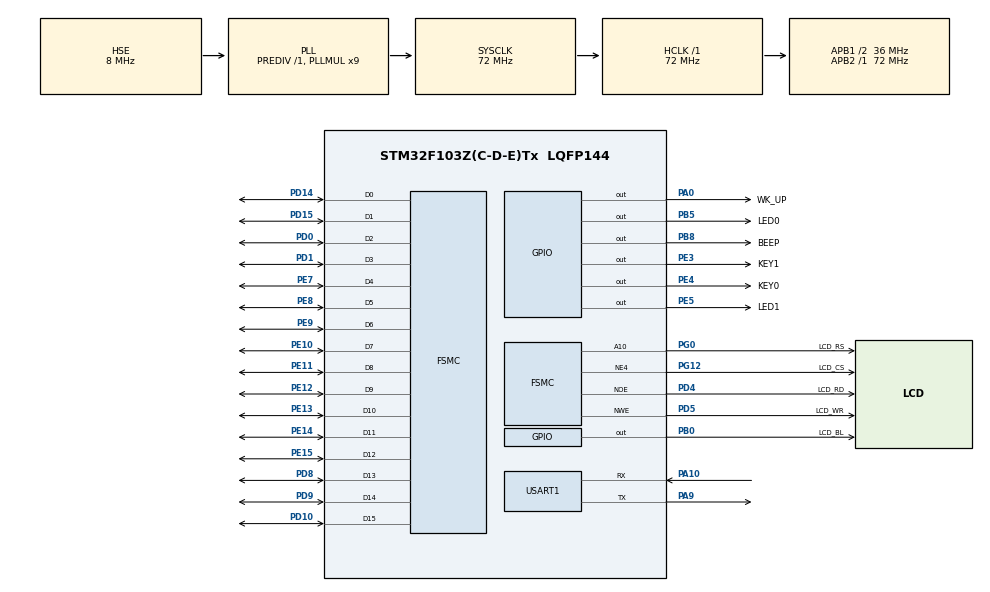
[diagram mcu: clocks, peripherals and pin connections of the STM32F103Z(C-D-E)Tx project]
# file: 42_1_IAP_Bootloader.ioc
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FSMC.AddressSetupTime1=0
FSMC.BusTurnAroundDuration1=15
FSMC.DataSetupTime1=15
FSMC.ExtendedAddressSetupTime1=0
FSMC.ExtendedDataSetupTime1=1
FSMC.ExtendedMode1=FSMC_EXTENDED_MODE_ENABLE
Mcu.Family=STM32F1
Mcu.Name=STM32F103Z(C-D-E)Tx
Mcu.Package=LQFP144
NVIC.PriorityGroup=NVIC_PRIORITYGROUP_2
NVIC.USART1_IRQn=true\:2\:2\:true\:false\:true\:true\:true\:true
OSC_IN.Mode=HSE-External-Oscillator
OSC_IN.Signal=RCC_OSC_IN
OSC_OUT.Mode=HSE-External-Oscillator
OSC_OUT.Signal=RCC_OSC_OUT
PA0-WKUP.GPIO_Label=WK_UP
PA0-WKUP.GPIO_PuPd=GPIO_PULLDOWN
PA0-WKUP.GPIO_Speed=GPIO_SPEED_FREQ_HIGH
PA0-WKUP.PinState=GPIO_PIN_RESET
PA0-WKUP.Signal=GPIO_Output
PA10.Mode=Asynchronous
PA10.Signal=USART1_RX
PA13.Mode=Serial_Wire
PA13.Signal=SYS_JTMS-SWDIO
PA14.Mode=Serial_Wire
PA14.Signal=SYS_JTCK-SWCLK
PA9.Mode=Asynchronous
PA9.Signal=USART1_TX
PB0.GPIO_Label=LCD_BL
PB0.GPIO_PuPd=GPIO_PULLUP
PB0.GPIO_Speed=GPIO_SPEED_FREQ_HIGH
PB0.PinState=GPIO_PIN_SET
PB0.Signal=GPIO_Output
PB5.GPIO_Label=LED0
PB5.GPIO_PuPd=GPIO_PULLUP
PB5.GPIO_Speed=GPIO_SPEED_FREQ_HIGH
PB5.PinState=GPIO_PIN_SET
PB5.Signal=GPIO_Output
PB8.GPIO_Label=BEEP
PB8.GPIO_ModeDefaultOutputPP=GPIO_MODE_OUTPUT_PP
PB8.GPIO_PuPd=GPIO_PULLDOWN
PB8.GPIO_Speed=GPIO_SPEED_FREQ_HIGH
PB8.PinState=GPIO_PIN_RESET
PB8.Signal=GPIO_Output
PC14-OSC32_IN.Mode=LSE-External-Oscillator
PC14-OSC32_IN.Signal=RCC_OSC32_IN
PC15-OSC32_OUT.Mode=LSE-External-Oscillator
PC15-OSC32_OUT.Signal=RCC_OSC32_OUT
PD0.Signal=FSMC_D2_DA2
PD1.Signal=FSMC_D3_DA3
PD10.Signal=FSMC_D15_DA15
PD14.Signal=FSMC_D0_DA0
PD15.Signal=FSMC_D1_DA1
PD4.GPIO_Label=LCD_RD
PD4.Signal=FSMC_NOE
PD5.GPIO_Label=LCD_WR
PD5.Signal=FSMC_NWE
PD8.Signal=FSMC_D13_DA13
PD9.Signal=FSMC_D14_DA14
PE10.Signal=FSMC_D7_DA7
PE11.Signal=FSMC_D8_DA8
PE12.Signal=FSMC_D9_DA9
PE13.Signal=FSMC_D10_DA10
PE14.Signal=FSMC_D11_DA11
PE15.Signal=FSMC_D12_DA12
PE3.GPIO_Label=KEY1
PE3.GPIO_PuPd=GPIO_PULLUP
PE3.GPIO_Speed=GPIO_SPEED_FREQ_HIGH
PE3.PinState=GPIO_PIN_SET
PE3.Signal=GPIO_Output
PE4.GPIO_Label=KEY0
PE4.GPIO_PuPd=GPIO_PULLUP
PE4.GPIO_Speed=GPIO_SPEED_FREQ_HIGH
PE4.PinState=GPIO_PIN_SET
PE4.Signal=GPIO_Output
PE5.GPIO_Label=LED1
PE5.GPIO_PuPd=GPIO_PULLUP
PE5.GPIO_Speed=GPIO_SPEED_FREQ_HIGH
PE5.PinState=GPIO_PIN_SET
PE5.Signal=GPIO_Output
PE7.Signal=FSMC_D4_DA4
PE8.Signal=FSMC_D5_DA5
PE9.Signal=FSMC_D6_DA6
PG0.GPIO_Label=LCD_RS
PG0.Signal=FSMC_A10
PG12.GPIO_Label=LCD_CS
PG12.Mode=NorPsramChipSelect4_1
PG12.Signal=FSMC_NE4
ProjectManager.HeapSize=0x200
ProjectManager.StackSize=0x400
ProjectManager.TargetToolchain=STM32CubeIDE
RCC.AHBFreq_Value=72000000
RCC.APB1CLKDivider=RCC_HCLK_DIV2
RCC.APB1Freq_Value=36000000
RCC.APB1TimFreq_Value=72000000
RCC.APB2Freq_Value=72000000
RCC.APB2TimFreq_Value=72000000
RCC.HCLKFreq_Value=72000000
RCC.PLLMUL=RCC_PLL_MUL9
RCC.PLLSourceVirtual=RCC_PLLSOURCE_HSE
RCC.SYSCLKFreq_VALUE=72000000
RCC.SYSCLKSource=RCC_SYSCLKSOURCE_PLLCLK
RCC.USBFreq_Value=72000000
SH.FSMC_A10.0=FSMC_A10,A10_1
SH.FSMC_D0_DA0.0=FSMC_D0,16b-d1
SH.FSMC_D10_DA10.0=FSMC_D10,16b-d1
SH.FSMC_D11_DA11.0=FSMC_D11,16b-d1
SH.FSMC_D12_DA12.0=FSMC_D12,16b-d1
SH.FSMC_D13_DA13.0=FSMC_D13,16b-d1
SH.FSMC_D14_DA14.0=FSMC_D14,16b-d1
SH.FSMC_D15_DA15.0=FSMC_D15,16b-d1
SH.FSMC_D1_DA1.0=FSMC_D1,16b-d1
SH.FSMC_D2_DA2.0=FSMC_D2,16b-d1
SH.FSMC_D3_DA3.0=FSMC_D3,16b-d1
SH.FSMC_D4_DA4.0=FSMC_D4,16b-d1
SH.FSMC_D5_DA5.0=FSMC_D5,16b-d1
SH.FSMC_D6_DA6.0=FSMC_D6,16b-d1
SH.FSMC_D7_DA7.0=FSMC_D7,16b-d1
SH.FSMC_D8_DA8.0=FSMC_D8,16b-d1
SH.FSMC_D9_DA9.0=FSMC_D9,16b-d1
SH.FSMC_NOE.0=FSMC_NOE,Lcd1
SH.FSMC_NWE.0=FSMC_NWE,Lcd1
USART1.VirtualMode=VM_ASYNC
board=custom

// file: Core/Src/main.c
/* USER CODE BEGIN Header */
/**
 ****************************************************************************************************
 * @file        main.c
 * @author      正点原子团队(ALIENTEK)
 * @version     V1.0
 * @date        2024-01-01
 * @brief       串口IAP 实验-IAP Bootloader V1.0
 * @license     Copyright (c) 2020-2032, 广州市星翼电子科技有限公司
 ****************************************************************************************************
 * @attention
 *
 * 实验平台:正点原子 STM32F103开发板
 * 在线视频:www.yuanzige.com
 * 技术论坛:www.openedv.com
 * 公司网址:www.alientek.com
 * 购买地址:openedv.taobao.com
 *
 ****************************************************************************************************
 */
/* USER CODE END Header */
#include "main.h"
#include "usart.h"
#include "gpio.h"
#include "fsmc.h"

/* USER CODE BEGIN Includes */
#include "../../BSP/LED/led.h"
#include "../../BSP/BEEP/beep.h"
#include "../../BSP/KEY/key.h"
#include "../../BSP/LCD/lcd.h"
#include "../../SYSTEM/delay/delay.h"
#include "../../SYSTEM/sys/sys.h"
#include "../../ATK_Middlewares/IAP/iap.h"
/* USER CODE END Includes */

void SystemClock_Config(void);

int main(void)
{
  /* USER CODE BEGIN 1 */
    uint8_t t;
    uint8_t key;
    uint32_t oldcount = 0;      /* 老的串口接收数据值 */
    uint32_t applenth = 0;      /* 接收到的app代码长度 */
    uint8_t clearflag = 0;
  /* USER CODE END 1 */

  /* MCU Configuration--------------------------------------------------------*/

  /* Reset of all peripherals, Initializes the Flash interface and the Systick. */
  HAL_Init();

  /* Configure the system clock */
  SystemClock_Config();

  /* USER CODE BEGIN SysInit */
  delay_init(72);						   /* 初始化延时函数 */
  /* USER CODE END SysInit */

  /* Initialize all configured peripherals */
  MX_GPIO_Init();
  MX_FSMC_Init();
  MX_USART1_UART_Init();
  /* USER CODE BEGIN 2 */
  lcd_init();                                         /* 初始化LCD */
  lcd_show_string(30,  50, 200, 16, 16, "STM32", RED);
  lcd_show_string(30,  70, 200, 16, 16, "IAP TEST", RED);
  lcd_show_string(30,  90, 200, 16, 16, "ATOM@ALIENTEK", RED);
  lcd_show_string(30, 110, 200, 16, 16, "KEY_UP: Copy APP2FLASH!", RED);
  lcd_show_string(30, 130, 200, 16, 16, "KEY1: Run FLASH APP", RED);
  lcd_show_string(30, 150, 200, 16, 16, "KEY0: Run SRAM APP", RED);
  /* USER CODE END 2 */

  /* Infinite loop */
  /* USER CODE BEGIN WHILE */
  while (1)
  {
	  if (g_usart_rx_cnt)
	  {
		  if (oldcount == g_usart_rx_cnt)   /* 新周期内,没有收到任何数据,认为本次数据接收完成 */
		  {
			  applenth = g_usart_rx_cnt;
			  oldcount = 0;
			  g_usart_rx_cnt = 0;
			  printf("用户程序接收完成!\r\n");
			  printf("代码长度:%luBytes\r\n", applenth);
		  }
		  else oldcount = g_usart_rx_cnt;
	  }

	  t++;
	  delay_ms(100);

	  if (t == 3)
	  {
		  LED0_TOGGLE();
		  t = 0;

		  if (clearflag)
		  {
			  clearflag--;

			  if (clearflag == 0)
			  {
				  lcd_fill(30, 190, 240, 210 + 16, WHITE);    /* 清除显示 */
			  }
		  }
	  }

	  key = key_scan(0);

	  if (key == WKUP_PRES)   /* WKUP按下,更新固件到FLASH */
	  {
		  if (applenth)
		  {
			  printf("开始更新固件...\r\n");
			  lcd_show_string(30, 190, 200, 16, 16, "Copying APP2FLASH...", BLUE);

			  if (((*(volatile uint32_t *)(0X20002000 + 4)) & 0xFF000000) == 0x08000000)  /* 判断是否为0X08XXXXXX */
			  {
				  iap_write_appbin(FLASH_APP1_ADDR, g_usart_rx_buf, applenth);            /* 更新FLASH代码 */
				  lcd_show_string(30, 190, 200, 16, 16, "Copy APP Successed!!", BLUE);
				  printf("固件更新完成!\r\n");
			  }
			  else
			  {
				  lcd_show_string(30, 190, 200, 16, 16, "Illegal FLASH APP!  ", BLUE);
				  printf("非FLASH应用程序!\r\n");
			  }
		  }
		  else
		  {
			  printf("没有可以更新的固件!\r\n");
			  lcd_show_string(30, 190, 200, 16, 16, "No APP!", BLUE);
		  }

		  clearflag = 7; /* 标志更新了显示,并且设置7*300ms后清除显示 */
	  }

	  if (key == KEY1_PRES)   /* KEY1按键按下, 运行FLASH APP代码 */
	  {
		  if (((*(volatile uint32_t *)(FLASH_APP1_ADDR + 4)) & 0xFF000000) == 0x08000000) /* 判断FLASH里面是否有APP,有的话执行 */
		  {
			  printf("开始执行FLASH用户代码!!\r\n\r\n");
			  delay_ms(10);
			  iap_load_app(FLASH_APP1_ADDR);/* 执行FLASH APP代码 */

		  }
		  else
		  {
			  printf("没有可以运行的固件!\r\n");
			  lcd_show_string(30, 190, 200, 16, 16, "No APP!", BLUE);
		  }

		  clearflag = 7; /* 标志更新了显示,并且设置7*300ms后清除显示 */
	  }

	  if (key == KEY0_PRES)   /* KEY0按下 */
	  {
		  printf("开始执行SRAM用户代码!!\r\n\r\n");
		  delay_ms(10);

		  if (((*(volatile uint32_t *)(0X20002000 + 4)) & 0xFF000000) == 0x20000000)   /* 判断是否为0X20XXXXXX */
		  {
			  iap_load_app(0X20002000);   /* SRAM地址 */
		  }
		  else
		  {
			  printf("非SRAM应用程序,无法执行!\r\n");
			  lcd_show_string(30, 190, 200, 16, 16, "Illegal SRAM APP!", BLUE);
		  }

		  clearflag = 7; /* 标志更新了显示,并且设置7*300ms后清除显示 */
	  }

    /* USER CODE END WHILE */

  }
}

void SystemClock_Config(void)
{
  RCC_OscInitTypeDef RCC_OscInitStruct = {0};
  RCC_ClkInitTypeDef RCC_ClkInitStruct = {0};

  /** Initializes the RCC Oscillators according to the specified parameters
  * in the RCC_OscInitTypeDef structure.
  */
  RCC_OscInitStruct.OscillatorType = RCC_OSCILLATORTYPE_HSE;
  RCC_OscInitStruct.HSEState = RCC_HSE_ON;
  RCC_OscInitStruct.HSEPredivValue = RCC_HSE_PREDIV_DIV1;
  RCC_OscInitStruct.HSIState = RCC_HSI_ON;
  RCC_OscInitStruct.PLL.PLLState = RCC_PLL_ON;
  RCC_OscInitStruct.PLL.PLLSource = RCC_PLLSOURCE_HSE;
  RCC_OscInitStruct.PLL.PLLMUL = RCC_PLL_MUL9;
  if (HAL_RCC_OscConfig(&RCC_OscInitStruct) != HAL_OK)
  {
    Error_Handler();
  }

  /** Initializes the CPU, AHB and APB buses clocks
  */
  RCC_ClkInitStruct.ClockType = RCC_CLOCKTYPE_HCLK|RCC_CLOCKTYPE_SYSCLK
                              |RCC_CLOCKTYPE_PCLK1|RCC_CLOCKTYPE_PCLK2;
  RCC_ClkInitStruct.SYSCLKSource = RCC_SYSCLKSOURCE_PLLCLK;
  RCC_ClkInitStruct.AHBCLKDivider = RCC_SYSCLK_DIV1;
  RCC_ClkInitStruct.APB1CLKDivider = RCC_HCLK_DIV2;
  RCC_ClkInitStruct.APB2CLKDivider = RCC_HCLK_DIV1;

  if (HAL_RCC_ClockConfig(&RCC_ClkInitStruct, FLASH_LATENCY_2) != HAL_OK)
  {
    Error_Handler();
  }
}

void Error_Handler(void)
{
  __disable_irq();
  while (1)
  {
  }
}
